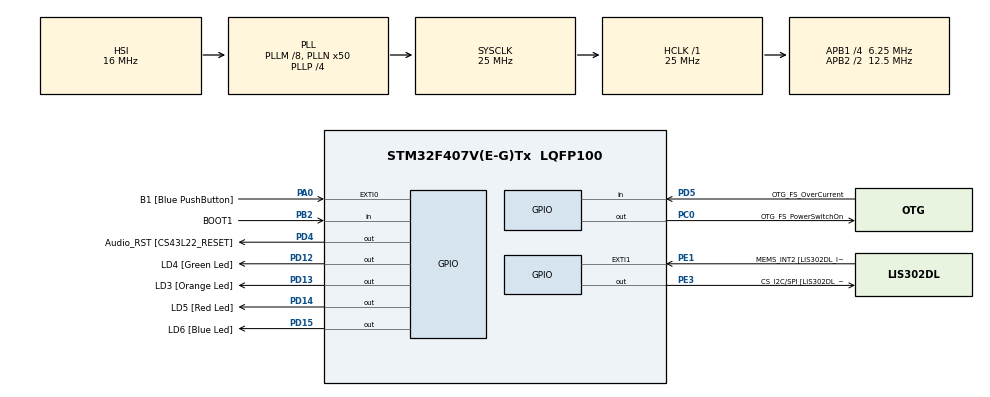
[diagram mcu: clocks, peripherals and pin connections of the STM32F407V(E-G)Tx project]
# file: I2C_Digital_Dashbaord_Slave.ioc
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Mcu.Family=STM32F4
Mcu.Name=STM32F407V(E-G)Tx
Mcu.Package=LQFP100
NVIC.PriorityGroup=NVIC_PRIORITYGROUP_0
PA0-WKUP.GPIO_Label=B1 [Blue PushButton]
PA0-WKUP.Signal=GPXTI0
PA10.GPIO_Label=OTG_FS_ID
PA10.GPIO_Mode=GPIO_MODE_AF_PP
PA10.GPIO_PuPd=GPIO_NOPULL
PA10.GPIO_Speed=GPIO_SPEED_FREQ_LOW
PA10.Signal=USB_OTG_FS_ID
PA11.GPIO_Label=OTG_FS_DM
PA11.GPIO_Mode=GPIO_MODE_AF_PP
PA11.GPIO_PuPd=GPIO_NOPULL
PA11.GPIO_Speed=GPIO_SPEED_FREQ_LOW
PA11.Signal=USB_OTG_FS_DM
PA12.GPIO_Label=OTG_FS_DP
PA12.GPIO_Mode=GPIO_MODE_AF_PP
PA12.GPIO_PuPd=GPIO_NOPULL
PA12.GPIO_Speed=GPIO_SPEED_FREQ_LOW
PA12.Signal=USB_OTG_FS_DP
PA13.GPIO_Label=SWDIO
PA13.Signal=SYS_JTMS-SWDIO
PA14.GPIO_Label=SWCLK
PA14.Signal=SYS_JTCK-SWCLK
PA4.GPIO_Label=I2S3_WS [CS43L22_LRCK]
PA4.GPIO_Mode=GPIO_MODE_AF_PP
PA4.GPIO_PuPd=GPIO_NOPULL
PA4.GPIO_Speed=GPIO_SPEED_FREQ_LOW
PA4.Signal=I2S3_WS
PA5.GPIO_Label=SPI1_SCK [LIS302DL_SCL/SPC]
PA5.GPIO_Mode=GPIO_MODE_AF_PP
PA5.GPIO_PuPd=GPIO_NOPULL
PA5.GPIO_Speed=GPIO_SPEED_FREQ_LOW
PA5.Signal=SPI1_SCK
PA6.GPIO_Label=SPI1_MISO [LIS302DL_SDO]
PA6.GPIO_Mode=GPIO_MODE_AF_PP
PA6.GPIO_PuPd=GPIO_NOPULL
PA6.GPIO_Speed=GPIO_SPEED_FREQ_LOW
PA6.Signal=SPI1_MISO
PA7.GPIO_Label=SPI1_MOSI [LIS302DL_SDA/SDI/SDO]
PA7.GPIO_Mode=GPIO_MODE_AF_PP
PA7.GPIO_PuPd=GPIO_NOPULL
PA7.GPIO_Speed=GPIO_SPEED_FREQ_LOW
PA7.Signal=SPI1_MOSI
PA9.GPIO_Label=VBUS_FS
PA9.GPIO_Mode=GPIO_MODE_INPUT
PA9.GPIO_PuPd=GPIO_NOPULL
PA9.Signal=USB_OTG_FS_VBUS
PB10.GPIO_Label=CLK_IN [MP45DT02_CLK]
PB10.GPIO_Mode=GPIO_MODE_AF_PP
PB10.GPIO_PuPd=GPIO_NOPULL
PB10.GPIO_Speed=GPIO_SPEED_FREQ_LOW
PB10.Signal=I2S2_CK
PB2.GPIO_Label=BOOT1
PB2.GPIO_Mode=GPIO_MODE_INPUT
PB2.GPIO_PuPd=GPIO_NOPULL
PB2.Signal=GPIO_Input
PB3.GPIO_Label=SWO
PB3.Signal=SYS_JTDO-SWO
PB6.GPIO_Label=Audio_SCL [CS43L22_SCL]
PB6.GPIO_Mode=GPIO_MODE_AF_OD
PB6.GPIO_PuPd=GPIO_NOPULL
PB6.GPIO_Speed=GPIO_SPEED_FREQ_LOW
PB6.Signal=I2C1_SCL
PB9.GPIO_Label=Audio_SDA [CS43L22_SDA]
PB9.GPIO_Mode=GPIO_MODE_AF_OD
PB9.GPIO_PuPd=GPIO_NOPULL
PB9.GPIO_Speed=GPIO_SPEED_FREQ_LOW
PB9.Signal=I2C1_SDA
PC0.GPIO_Label=OTG_FS_PowerSwitchOn
PC0.GPIO_PuPd=GPIO_NOPULL
PC0.GPIO_Speed=GPIO_SPEED_FREQ_LOW
PC0.PinState=GPIO_PIN_SET
PC0.Signal=GPIO_Output
PC10.GPIO_Label=I2S3_SCK [CS43L22_SCLK]
PC10.GPIO_Mode=GPIO_MODE_AF_PP
PC10.GPIO_PuPd=GPIO_NOPULL
PC10.GPIO_Speed=GPIO_SPEED_FREQ_LOW
PC10.Signal=I2S3_CK
PC12.GPIO_Label=I2S3_SD [CS43L22_SDIN]
PC12.GPIO_Mode=GPIO_MODE_AF_PP
PC12.GPIO_PuPd=GPIO_NOPULL
PC12.GPIO_Speed=GPIO_SPEED_FREQ_LOW
PC12.Signal=I2S3_SD
PC14-OSC32_IN.GPIO_Label=PC14-OSC32_IN
PC14-OSC32_IN.Signal=RCC_OSC32_IN
PC15-OSC32_OUT.GPIO_Label=PC15-OSC32_OUT
PC15-OSC32_OUT.Signal=RCC_OSC32_OUT
PC3.GPIO_Label=PDM_OUT [MP45DT02_DOUT]
PC3.GPIO_Mode=GPIO_MODE_AF_PP
PC3.GPIO_PuPd=GPIO_NOPULL
PC3.GPIO_Speed=GPIO_SPEED_FREQ_LOW
PC3.Signal=I2S2_SD
PC7.GPIO_Label=I2S3_MCK [CS43L22_MCLK]
PC7.GPIO_Mode=GPIO_MODE_AF_PP
PC7.GPIO_PuPd=GPIO_NOPULL
PC7.GPIO_Speed=GPIO_SPEED_FREQ_LOW
PC7.Signal=I2S3_MCK
PD12.GPIO_Label=LD4 [Green Led]
PD12.GPIO_PuPd=GPIO_NOPULL
PD12.GPIO_Speed=GPIO_SPEED_FREQ_LOW
PD12.Signal=GPIO_Output
PD13.GPIO_Label=LD3 [Orange Led]
PD13.GPIO_PuPd=GPIO_NOPULL
PD13.GPIO_Speed=GPIO_SPEED_FREQ_LOW
PD13.Signal=GPIO_Output
PD14.GPIO_Label=LD5 [Red Led]
PD14.GPIO_PuPd=GPIO_NOPULL
PD14.GPIO_Speed=GPIO_SPEED_FREQ_LOW
PD14.Signal=GPIO_Output
PD15.GPIO_Label=LD6 [Blue Led]
PD15.GPIO_PuPd=GPIO_NOPULL
PD15.GPIO_Speed=GPIO_SPEED_FREQ_LOW
PD15.Signal=GPIO_Output
PD4.GPIO_Label=Audio_RST [CS43L22_RESET]
PD4.GPIO_PuPd=GPIO_NOPULL
PD4.GPIO_Speed=GPIO_SPEED_FREQ_LOW
PD4.Signal=GPIO_Output
PD5.GPIO_Label=OTG_FS_OverCurrent
PD5.GPIO_Mode=GPIO_MODE_INPUT
PD5.GPIO_PuPd=GPIO_NOPULL
PD5.Signal=GPIO_Input
PE1.GPIO_Label=MEMS_INT2 [LIS302DL_INT2]
PE1.GPIO_ModeDefaultEXTI=GPIO_MODE_EVT_RISING
PE1.GPIO_PuPd=GPIO_NOPULL
PE1.Signal=GPXTI1
PE3.GPIO_Label=CS_I2C/SPI [LIS302DL_CS_I2C/SPI]
PE3.GPIO_PuPd=GPIO_NOPULL
PE3.GPIO_Speed=GPIO_SPEED_FREQ_LOW
PE3.Signal=GPIO_Output
PH0-OSC_IN.GPIO_Label=PH0-OSC_IN
PH0-OSC_IN.Signal=RCC_OSC_IN
PH1-OSC_OUT.GPIO_Label=PH1-OSC_OUT
PH1-OSC_OUT.Signal=RCC_OSC_OUT
ProjectManager.HeapSize=0x200
ProjectManager.StackSize=0x400
ProjectManager.TargetToolchain=STM32CubeIDE
RCC.48MHZClocksFreq_Value=14285714.285714285
RCC.AHBFreq_Value=25000000
RCC.APB1CLKDivider=RCC_HCLK_DIV4
RCC.APB1Freq_Value=6250000
RCC.APB1TimFreq_Value=12500000
RCC.APB2CLKDivider=RCC_HCLK_DIV2
RCC.APB2Freq_Value=12500000
RCC.APB2TimFreq_Value=25000000
RCC.CortexFreq_Value=25000000
RCC.HCLKFreq_Value=25000000
RCC.HSE_VALUE=8000000
RCC.HSI_VALUE=16000000
RCC.LSE_VALUE=32768
RCC.PLLM=8
RCC.PLLN=50
RCC.PLLP=RCC_PLLP_DIV4
RCC.PLLQ=7
RCC.SYSCLKFreq_VALUE=25000000
RCC.SYSCLKSource=RCC_SYSCLKSOURCE_PLLCLK
RCC.VCOOutputFreq_Value=100000000
board=STM32F407G-DISC1

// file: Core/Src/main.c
/* USER CODE BEGIN Header */
/**
  ******************************************************************************
  * @file           : main.c
  * @brief          : Main program body
  ******************************************************************************
  * @attention
  *
  * Copyright (c) 2026 STMicroelectronics.
  * All rights reserved.
  *
  * This software is licensed under terms that can be found in the LICENSE file
  * in the root directory of this software component.
  * If no LICENSE file comes with this software, it is provided AS-IS.
  *
  ******************************************************************************
  */
/* USER CODE END Header */
#include "main.h"

/* USER CODE BEGIN Includes */
#include "stm32f4xx.h"
/* USER CODE END Includes */

/* USER CODE BEGIN PD */

// Define our own Slave Address
#define MY_SLAVE_ADDRESS 0x12

// --- TM1637 GPIO Macros ---
// PC0 is CLK, PC1 is DIO
#define CLK_HIGH() GPIOC->ODR |= GPIO_ODR_OD0
#define CLK_LOW()  GPIOC->ODR &= ~GPIO_ODR_OD0
#define DIO_HIGH() GPIOC->ODR |= GPIO_ODR_OD1
#define DIO_LOW()  GPIOC->ODR &= ~GPIO_ODR_OD1

/* USER CODE END PD */

/* USER CODE BEGIN PV */
// Global variables to store incoming data
volatile uint8_t received_data = 0;
volatile uint8_t new_data_flag = 0;
/* USER CODE END PV */

void SystemClock_Config(void);
static void MX_GPIO_Init(void);

/* USER CODE BEGIN 0 */
void I2C2_Slave_Init(void) {
    // 1. Enable Clocks for GPIOB, GPIOD (LEDs), and I2C2
    RCC->AHB1ENR |= RCC_AHB1ENR_GPIOBEN | RCC_AHB1ENR_GPIODEN;
    RCC->APB1ENR |= RCC_APB1ENR_I2C2EN;

    // 2. Configure LEDs: Orange (PD13) for Data, Red (PD14) for Heartbeat
    GPIOD->MODER &= ~(GPIO_MODER_MODER13 | GPIO_MODER_MODER14);
    GPIOD->MODER |= (GPIO_MODER_MODER13_0 | GPIO_MODER_MODER14_0);

    // 3. Configure GPIOB Pins 10 (SCL) and 11 (SDA) for I2C2
    GPIOB->MODER &= ~(GPIO_MODER_MODER10 | GPIO_MODER_MODER11);
    GPIOB->MODER |= (GPIO_MODER_MODER10_1 | GPIO_MODER_MODER11_1);
    GPIOB->OTYPER |= (GPIO_OTYPER_OT10 | GPIO_OTYPER_OT11);
    GPIOB->OSPEEDR |= (GPIO_OSPEEDER_OSPEEDR10 | GPIO_OSPEEDER_OSPEEDR11);

    // Enable Internal Pull-ups
    GPIOB->PUPDR &= ~(GPIO_PUPDR_PUPD10 | GPIO_PUPDR_PUPD11);
    GPIOB->PUPDR |= (GPIO_PUPDR_PUPD10_0 | GPIO_PUPDR_PUPD11_0);

    // Set Alternate Function 4 (AF4) for PB10 and PB11
    GPIOB->AFR[1] &= ~((0xF << 8) | (0xF << 12));
    GPIOB->AFR[1] |= ((4 << 8) | (4 << 12));

    // 4. Configure I2C2 Peripheral (Assuming 16MHz default clock)
    I2C2->CR1 |= I2C_CR1_SWRST;
    I2C2->CR1 &= ~I2C_CR1_SWRST;

    I2C2->CR2 |= 16;
    I2C2->CCR |= 80;
    I2C2->TRISE = 17;

    // 5. Configure Slave Address
    I2C2->OAR1 = (1 << 14) | (MY_SLAVE_ADDRESS << 1);

    // 6. Enable I2C Interrupts
    I2C2->CR2 |= I2C_CR2_ITEVTEN;
    I2C2->CR2 |= I2C_CR2_ITBUFEN;
    NVIC_EnableIRQ(I2C2_EV_IRQn);

    // 7. Enable I2C and ACK
    I2C2->CR1 |= I2C_CR1_PE;
    I2C2->CR1 |= I2C_CR1_ACK;
}

// --- The I2C2 Hardware Interrupt Service Routine ---
void I2C2_EV_IRQHandler(void) {
    uint32_t sr1 = I2C2->SR1;

    // EVENT 1: Addressed by Master
    if (sr1 & I2C_SR1_ADDR) {
        (void)I2C2->SR2;
    }

    // EVENT 2: Data Received
    if (sr1 & I2C_SR1_RXNE) {
        received_data = I2C2->DR;
        new_data_flag = 1;

        // Toggle ORANGE LED when data arrives
        GPIOD->ODR ^= GPIO_ODR_OD13;
    }

    // EVENT 3: STOP condition detected
    if (sr1 & I2C_SR1_STOPF) {
        I2C2->CR1 |= I2C_CR1_PE;
    }
}

// --- Simple microsecond delay for bit-banging ---
void delay_us(volatile uint32_t us) {
    us = us * 16; // Approx calculation for 16MHz clock
    while(us--) { __NOP(); }
}

void TM1637_Init(void) {
    // Enable GPIOC Clock
    RCC->AHB1ENR |= RCC_AHB1ENR_GPIOCEN;

    // Configure PC0 (CLK) and PC1 (DIO) as General Purpose Output
    GPIOC->MODER &= ~(GPIO_MODER_MODER0 | GPIO_MODER_MODER1);
    GPIOC->MODER |= (GPIO_MODER_MODER0_0 | GPIO_MODER_MODER1_0);

    // CRITICAL: Set to Open-Drain so we don't fight the 5V pull-ups
    GPIOC->OTYPER |= (GPIO_OTYPER_OT0 | GPIO_OTYPER_OT1);

    // Set Speed to High
    GPIOC->OSPEEDR |= (GPIO_OSPEEDER_OSPEEDR0 | GPIO_OSPEEDER_OSPEEDR1);

    // Start with both lines HIGH (Idle state)
    CLK_HIGH();
    DIO_HIGH();
}

void TM1637_Start(void) {
    CLK_HIGH();
    DIO_HIGH();
    delay_us(2);
    DIO_LOW();
    delay_us(2);
    CLK_LOW();
}

void TM1637_Stop(void) {
    CLK_LOW();
    delay_us(2);
    DIO_LOW();
    delay_us(2);
    CLK_HIGH();
    delay_us(2);
    DIO_HIGH();
}

void TM1637_WriteByte(uint8_t data) {
    // TM1637 expects LSB (Least Significant Bit) first!
    for (int i = 0; i < 8; i++) {
        CLK_LOW();
        delay_us(2);

        if (data & 0x01) {
            DIO_HIGH();
        } else {
            DIO_LOW();
        }
        delay_us(2);

        CLK_HIGH(); // Clock the bit in
        delay_us(2);

        data >>= 1; // Shift data right for the next bit
    }

    // Wait for ACK (We clock it once, but ignore the actual read for simplicity)
    CLK_LOW();
    delay_us(2);
    DIO_HIGH(); // Release data line
    delay_us(2);
    CLK_HIGH(); // 9th clock pulse for ACK
    delay_us(2);
    CLK_LOW();
}

// High-level function to send our I2C data to the display
void TM1637_DisplayDigit(uint8_t segment_data) {
    // 1. Data Command: 0x40 (Write data to display register)
    TM1637_Start();
    TM1637_WriteByte(0x40);
    TM1637_Stop();

    // 2. Address Command: 0xC0 (Address of the first digit) + The Data
    TM1637_Start();
    TM1637_WriteByte(0xC0);       // Point to Digit 0
    TM1637_WriteByte(segment_data); // Send the actual Hex data we got over I2C
    // If you wanted all 4 digits to show the number, you would just
    // call TM1637_WriteByte(segment_data) three more times right here!
    TM1637_Stop();

    // 3. Display Control: 0x8F (Display ON, maximum brightness)
    TM1637_Start();
    TM1637_WriteByte(0x8F);
    TM1637_Stop();
}
/* USER CODE END 0 */

int main(void) {
    // SystemClock_Config(); // Still commented out!

    // Initialize our two peripherals
    I2C2_Slave_Init();
    TM1637_Init();

    // Do a quick test: Show an "8" (0x7F) on startup so you know the display works
    TM1637_DisplayDigit(0x7F);

    while (1) {
        // Red Heartbeat
        GPIOD->ODR ^= GPIO_ODR_OD14;
        for (volatile int i = 0; i < 500000; i++) { __NOP(); }

        // Did the Nucleo just send us an I2C message?
        if (new_data_flag) {

            // Push the received data to the LED display!
            TM1637_DisplayDigit(received_data);

            // Clear the flag so we wait for the next I2C packet
            new_data_flag = 0;
        }
    }
}

void SystemClock_Config(void)
{
  RCC_OscInitTypeDef RCC_OscInitStruct = {0};
  RCC_ClkInitTypeDef RCC_ClkInitStruct = {0};

  /** Configure the main internal regulator output voltage
  */
  __HAL_RCC_PWR_CLK_ENABLE();
  __HAL_PWR_VOLTAGESCALING_CONFIG(PWR_REGULATOR_VOLTAGE_SCALE1);

  /** Initializes the RCC Oscillators according to the specified parameters
  * in the RCC_OscInitTypeDef structure.
  */
  RCC_OscInitStruct.OscillatorType = RCC_OSCILLATORTYPE_HSI;
  RCC_OscInitStruct.HSIState = RCC_HSI_ON;
  RCC_OscInitStruct.HSICalibrationValue = RCC_HSICALIBRATION_DEFAULT;
  RCC_OscInitStruct.PLL.PLLState = RCC_PLL_ON;
  RCC_OscInitStruct.PLL.PLLSource = RCC_PLLSOURCE_HSI;
  RCC_OscInitStruct.PLL.PLLM = 8;
  RCC_OscInitStruct.PLL.PLLN = 50;
  RCC_OscInitStruct.PLL.PLLP = RCC_PLLP_DIV4;
  RCC_OscInitStruct.PLL.PLLQ = 7;
  if (HAL_RCC_OscConfig(&RCC_OscInitStruct) != HAL_OK)
  {
    Error_Handler();
  }

  /** Initializes the CPU, AHB and APB buses clocks
  */
  RCC_ClkInitStruct.ClockType = RCC_CLOCKTYPE_HCLK|RCC_CLOCKTYPE_SYSCLK
                              |RCC_CLOCKTYPE_PCLK1|RCC_CLOCKTYPE_PCLK2;
  RCC_ClkInitStruct.SYSCLKSource = RCC_SYSCLKSOURCE_PLLCLK;
  RCC_ClkInitStruct.AHBCLKDivider = RCC_SYSCLK_DIV1;
  RCC_ClkInitStruct.APB1CLKDivider = RCC_HCLK_DIV4;
  RCC_ClkInitStruct.APB2CLKDivider = RCC_HCLK_DIV2;

  if (HAL_RCC_ClockConfig(&RCC_ClkInitStruct, FLASH_LATENCY_0) != HAL_OK)
  {
    Error_Handler();
  }
}

static void MX_GPIO_Init(void)
{
  GPIO_InitTypeDef GPIO_InitStruct = {0};

  /* GPIO Ports Clock Enable */
  __HAL_RCC_GPIOE_CLK_ENABLE();
  __HAL_RCC_GPIOC_CLK_ENABLE();
  __HAL_RCC_GPIOH_CLK_ENABLE();
  __HAL_RCC_GPIOA_CLK_ENABLE();
  __HAL_RCC_GPIOB_CLK_ENABLE();
  __HAL_RCC_GPIOD_CLK_ENABLE();

  /*Configure GPIO pin Output Level */
  HAL_GPIO_WritePin(CS_I2C_SPI_GPIO_Port, CS_I2C_SPI_Pin, GPIO_PIN_RESET);

  /*Configure GPIO pin Output Level */
  HAL_GPIO_WritePin(OTG_FS_PowerSwitchOn_GPIO_Port, OTG_FS_PowerSwitchOn_Pin, GPIO_PIN_SET);

  /*Configure GPIO pin Output Level */
  HAL_GPIO_WritePin(GPIOD, LD4_Pin|LD3_Pin|LD5_Pin|LD6_Pin
                          |Audio_RST_Pin, GPIO_PIN_RESET);

  /*Configure GPIO pin : CS_I2C_SPI_Pin */
  GPIO_InitStruct.Pin = CS_I2C_SPI_Pin;
  GPIO_InitStruct.Mode = GPIO_MODE_OUTPUT_PP;
  GPIO_InitStruct.Pull = GPIO_NOPULL;
  GPIO_InitStruct.Speed = GPIO_SPEED_FREQ_LOW;
  HAL_GPIO_Init(CS_I2C_SPI_GPIO_Port, &GPIO_InitStruct);

  /*Configure GPIO pin : OTG_FS_PowerSwitchOn_Pin */
  GPIO_InitStruct.Pin = OTG_FS_PowerSwitchOn_Pin;
  GPIO_InitStruct.Mode = GPIO_MODE_OUTPUT_PP;
  GPIO_InitStruct.Pull = GPIO_NOPULL;
  GPIO_InitStruct.Speed = GPIO_SPEED_FREQ_LOW;
  HAL_GPIO_Init(OTG_FS_PowerSwitchOn_GPIO_Port, &GPIO_InitStruct);

  /*Configure GPIO pin : PDM_OUT_Pin */
  GPIO_InitStruct.Pin = PDM_OUT_Pin;
  GPIO_InitStruct.Mode = GPIO_MODE_AF_PP;
  GPIO_InitStruct.Pull = GPIO_NOPULL;
  GPIO_InitStruct.Speed = GPIO_SPEED_FREQ_LOW;
  GPIO_InitStruct.Alternate = GPIO_AF5_SPI2;
  HAL_GPIO_Init(PDM_OUT_GPIO_Port, &GPIO_InitStruct);

  /*Configure GPIO pin : B1_Pin */
  GPIO_InitStruct.Pin = B1_Pin;
  GPIO_InitStruct.Mode = GPIO_MODE_IT_RISING;
  GPIO_InitStruct.Pull = GPIO_NOPULL;
  HAL_GPIO_Init(B1_GPIO_Port, &GPIO_InitStruct);

  /*Configure GPIO pin : I2S3_WS_Pin */
  GPIO_InitStruct.Pin = I2S3_WS_Pin;
  GPIO_InitStruct.Mode = GPIO_MODE_AF_PP;
  GPIO_InitStruct.Pull = GPIO_NOPULL;
  GPIO_InitStruct.Speed = GPIO_SPEED_FREQ_LOW;
  GPIO_InitStruct.Alternate = GPIO_AF6_SPI3;
  HAL_GPIO_Init(I2S3_WS_GPIO_Port, &GPIO_InitStruct);

  /*Configure GPIO pins : SPI1_SCK_Pin SPI1_MISO_Pin SPI1_MOSI_Pin */
  GPIO_InitStruct.Pin = SPI1_SCK_Pin|SPI1_MISO_Pin|SPI1_MOSI_Pin;
  GPIO_InitStruct.Mode = GPIO_MODE_AF_PP;
  GPIO_InitStruct.Pull = GPIO_NOPULL;
  GPIO_InitStruct.Speed = GPIO_SPEED_FREQ_LOW;
  GPIO_InitStruct.Alternate = GPIO_AF5_SPI1;
  HAL_GPIO_Init(GPIOA, &GPIO_InitStruct);

  /*Configure GPIO pin : BOOT1_Pin */
  GPIO_InitStruct.Pin = BOOT1_Pin;
  GPIO_InitStruct.Mode = GPIO_MODE_INPUT;
  GPIO_InitStruct.Pull = GPIO_NOPULL;
  HAL_GPIO_Init(BOOT1_GPIO_Port, &GPIO_InitStruct);

  /*Configure GPIO pin : CLK_IN_Pin */
  GPIO_InitStruct.Pin = CLK_IN_Pin;
  GPIO_InitStruct.Mode = GPIO_MODE_AF_PP;
  GPIO_InitStruct.Pull = GPIO_NOPULL;
  GPIO_InitStruct.Speed = GPIO_SPEED_FREQ_LOW;
  GPIO_InitStruct.Alternate = GPIO_AF5_SPI2;
  HAL_GPIO_Init(CLK_IN_GPIO_Port, &GPIO_InitStruct);

  /*Configure GPIO pins : LD4_Pin LD3_Pin LD5_Pin LD6_Pin
                           Audio_RST_Pin */
  GPIO_InitStruct.Pin = LD4_Pin|LD3_Pin|LD5_Pin|LD6_Pin
                          |Audio_RST_Pin;
  GPIO_InitStruct.Mode = GPIO_MODE_OUTPUT_PP;
  GPIO_InitStruct.Pull = GPIO_NOPULL;
  GPIO_InitStruct.Speed = GPIO_SPEED_FREQ_LOW;
  HAL_GPIO_Init(GPIOD, &GPIO_InitStruct);

  /*Configure GPIO pins : I2S3_MCK_Pin I2S3_SCK_Pin I2S3_SD_Pin */
  GPIO_InitStruct.Pin = I2S3_MCK_Pin|I2S3_SCK_Pin|I2S3_SD_Pin;
  GPIO_InitStruct.Mode = GPIO_MODE_AF_PP;
  GPIO_InitStruct.Pull = GPIO_NOPULL;
  GPIO_InitStruct.Speed = GPIO_SPEED_FREQ_LOW;
  GPIO_InitStruct.Alternate = GPIO_AF6_SPI3;
  HAL_GPIO_Init(GPIOC, &GPIO_InitStruct);

  /*Configure GPIO pin : VBUS_FS_Pin */
  GPIO_InitStruct.Pin = VBUS_FS_Pin;
  GPIO_InitStruct.Mode = GPIO_MODE_INPUT;
  GPIO_InitStruct.Pull = GPIO_NOPULL;
  HAL_GPIO_Init(VBUS_FS_GPIO_Port, &GPIO_InitStruct);

  /*Configure GPIO pins : OTG_FS_ID_Pin OTG_FS_DM_Pin OTG_FS_DP_Pin */
  GPIO_InitStruct.Pin = OTG_FS_ID_Pin|OTG_FS_DM_Pin|OTG_FS_DP_Pin;
  GPIO_InitStruct.Mode = GPIO_MODE_AF_PP;
  GPIO_InitStruct.Pull = GPIO_NOPULL;
  GPIO_InitStruct.Speed = GPIO_SPEED_FREQ_LOW;
  GPIO_InitStruct.Alternate = GPIO_AF10_OTG_FS;
  HAL_GPIO_Init(GPIOA, &GPIO_InitStruct);

  /*Configure GPIO pin : OTG_FS_OverCurrent_Pin */
  GPIO_InitStruct.Pin = OTG_FS_OverCurrent_Pin;
  GPIO_InitStruct.Mode = GPIO_MODE_INPUT;
  GPIO_InitStruct.Pull = GPIO_NOPULL;
  HAL_GPIO_Init(OTG_FS_OverCurrent_GPIO_Port, &GPIO_InitStruct);

  /*Configure GPIO pins : Audio_SCL_Pin Audio_SDA_Pin */
  GPIO_InitStruct.Pin = Audio_SCL_Pin|Audio_SDA_Pin;
  GPIO_InitStruct.Mode = GPIO_MODE_AF_OD;
  GPIO_InitStruct.Pull = GPIO_NOPULL;
  GPIO_InitStruct.Speed = GPIO_SPEED_FREQ_LOW;
  GPIO_InitStruct.Alternate = GPIO_AF4_I2C1;
  HAL_GPIO_Init(GPIOB, &GPIO_InitStruct);

  /*Configure GPIO pin : MEMS_INT2_Pin */
  GPIO_InitStruct.Pin = MEMS_INT2_Pin;
  GPIO_InitStruct.Mode = GPIO_MODE_EVT_RISING;
  GPIO_InitStruct.Pull = GPIO_NOPULL;
  HAL_GPIO_Init(MEMS_INT2_GPIO_Port, &GPIO_InitStruct);

}

void Error_Handler(void)
{
  __disable_irq();
  while (1)
  {
  }
}
